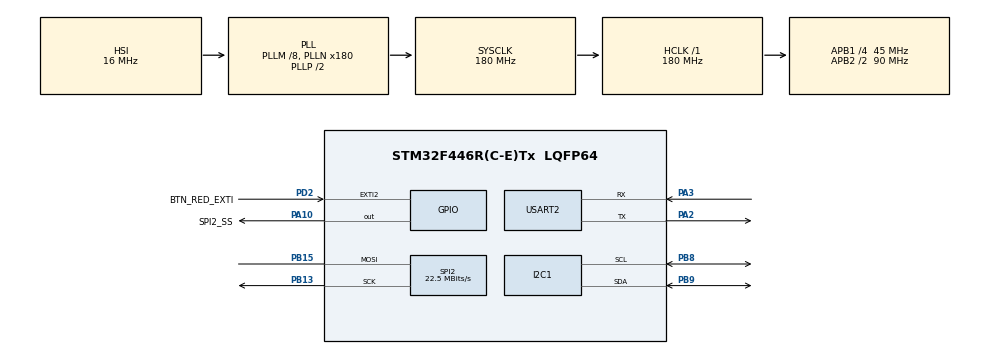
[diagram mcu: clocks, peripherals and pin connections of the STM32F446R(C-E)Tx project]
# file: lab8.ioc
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Dma.I2C1_RX.0.Direction=DMA_PERIPH_TO_MEMORY
Dma.I2C1_RX.0.FIFOMode=DMA_FIFOMODE_DISABLE
Dma.I2C1_RX.0.Instance=DMA1_Stream0
Dma.I2C1_RX.0.MemDataAlignment=DMA_MDATAALIGN_BYTE
Dma.I2C1_RX.0.MemInc=DMA_MINC_ENABLE
Dma.I2C1_RX.0.Mode=DMA_NORMAL
Dma.I2C1_RX.0.PeriphDataAlignment=DMA_PDATAALIGN_BYTE
Dma.I2C1_RX.0.PeriphInc=DMA_PINC_DISABLE
Dma.I2C1_RX.0.Priority=DMA_PRIORITY_LOW
Dma.I2C1_TX.1.Direction=DMA_MEMORY_TO_PERIPH
Dma.I2C1_TX.1.FIFOMode=DMA_FIFOMODE_DISABLE
Dma.I2C1_TX.1.Instance=DMA1_Stream6
Dma.I2C1_TX.1.MemDataAlignment=DMA_MDATAALIGN_BYTE
Dma.I2C1_TX.1.MemInc=DMA_MINC_ENABLE
Dma.I2C1_TX.1.Mode=DMA_NORMAL
Dma.I2C1_TX.1.PeriphDataAlignment=DMA_PDATAALIGN_BYTE
Dma.I2C1_TX.1.PeriphInc=DMA_PINC_DISABLE
Dma.I2C1_TX.1.Priority=DMA_PRIORITY_LOW
Dma.Request0=I2C1_RX
Dma.Request1=I2C1_TX
Mcu.Family=STM32F4
Mcu.Name=STM32F446R(C-E)Tx
Mcu.Package=LQFP64
NVIC.DMA1_Stream0_IRQn=true\:0\:0\:false\:false\:true\:false\:true\:true
NVIC.DMA1_Stream6_IRQn=true\:0\:0\:false\:false\:true\:false\:true\:true
NVIC.EXTI2_IRQn=true\:0\:0\:false\:false\:true\:true\:true\:true
NVIC.I2C1_EV_IRQn=true\:0\:0\:false\:false\:true\:true\:true\:true
NVIC.PriorityGroup=NVIC_PRIORITYGROUP_4
NVIC.SPI2_IRQn=true\:0\:0\:false\:false\:true\:true\:true\:true
NVIC.TIM1_UP_TIM10_IRQn=true\:1\:0\:true\:false\:true\:true\:true\:true
NVIC.TIM8_UP_TIM13_IRQn=true\:0\:0\:false\:false\:true\:true\:true\:true
NVIC.USART2_IRQn=true\:0\:0\:false\:false\:true\:true\:true\:true
PA10.GPIO_Label=SPI2_SS
PA10.Signal=GPIO_Output
PA2.Mode=Asynchronous
PA2.Signal=USART2_TX
PA3.Mode=Asynchronous
PA3.Signal=USART2_RX
PB13.Mode=Simplex_Bidirectional_Master
PB13.Signal=SPI2_SCK
PB15.Mode=Simplex_Bidirectional_Master
PB15.Signal=SPI2_MOSI
PB8.Mode=I2C
PB8.Signal=I2C1_SCL
PB9.Mode=I2C
PB9.Signal=I2C1_SDA
PD2.GPIO_Label=BTN_RED_EXTI
PD2.Signal=GPXTI2
PH0-OSC_IN.Mode=HSE-External-Oscillator
PH0-OSC_IN.Signal=RCC_OSC_IN
PH1-OSC_OUT.Mode=HSE-External-Oscillator
PH1-OSC_OUT.Signal=RCC_OSC_OUT
ProjectManager.HeapSize=0x200
ProjectManager.StackSize=0x400
ProjectManager.TargetToolchain=STM32CubeIDE
RCC.AHBFreq_Value=180000000
RCC.APB1CLKDivider=RCC_HCLK_DIV4
RCC.APB1Freq_Value=45000000
RCC.APB1TimFreq_Value=90000000
RCC.APB2CLKDivider=RCC_HCLK_DIV2
RCC.APB2Freq_Value=90000000
RCC.APB2TimFreq_Value=180000000
RCC.CortexFreq_Value=180000000
RCC.HCLKFreq_Value=180000000
RCC.HSE_VALUE=12000000
RCC.PLLM=8
RCC.PLLN=180
RCC.SYSCLKFreq_VALUE=180000000
RCC.SYSCLKSource=RCC_SYSCLKSOURCE_PLLCLK
RCC.USBFreq_Value=180000000
RCC.VCOOutputFreq_Value=360000000
SPI2.CalculateBaudRate=22.5 MBits/s
SPI2.Direction=SPI_DIRECTION_1LINE
SPI2.Mode=SPI_MODE_MASTER
SPI2.VirtualType=VM_MASTER
TIM1.Period=999
TIM1.Prescaler=179
TIM8.Period=49999
TIM8.Prescaler=1799
USART2.VirtualMode=VM_ASYNC
VP_TIM1_VS_ClockSourceINT.Mode=Internal
VP_TIM8_VS_ClockSourceINT.Mode=Internal
board=custom

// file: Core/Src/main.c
/* USER CODE BEGIN Header */
/**
  ******************************************************************************
  * @file           : main.c
  * @brief          : Main program body
  ******************************************************************************
  * @attention
  *
  * Copyright (c) 2024 STMicroelectronics.
  * All rights reserved.
  *
  * This software is licensed under terms that can be found in the LICENSE file
  * in the root directory of this software component.
  * If no LICENSE file comes with this software, it is provided AS-IS.
  *
  ******************************************************************************
  */
/* USER CODE END Header */
#include "main.h"

/* USER CODE BEGIN PD */
#define UART_RX_BUFFER_SIZE 100
#define MAX_DIGITS 8

#define DS1337_ADDRESS (0x68 << 1)

#define DEBOUNCE_CHECKS 5
/* USER CODE END PD */

I2C_HandleTypeDef hi2c1;
DMA_HandleTypeDef hdma_i2c1_rx;
DMA_HandleTypeDef hdma_i2c1_tx;

SPI_HandleTypeDef hspi2;

TIM_HandleTypeDef htim1;
TIM_HandleTypeDef htim8;

UART_HandleTypeDef huart2;

/* USER CODE BEGIN PV */
uint8_t error_state;

uint8_t digit_to_segment[] = {
    0b00111111, // 0
    0b00000110, // 1
    0b01011011, // 2
    0b01001111, // 3
    0b01100110, // 4
    0b01101101, // 5
    0b01111101, // 6
    0b00000111, // 7
    0b01111111, // 8
    0b01101111  // 9
};

uint8_t current_indicator = 0;
const char *display_string = "12345678";

uint8_t spi_data[2];

uint8_t uart_rx_buffer[UART_RX_BUFFER_SIZE];
uint8_t uart_index = 0;

uint8_t digit_states[MAX_DIGITS] = {0};

uint8_t rtcData[7];
uint8_t rtcDataWrite[7];

uint8_t seconds;
uint8_t minutes;
uint8_t hours;
uint8_t dayOfWeek;
uint8_t date;
uint8_t month;
uint8_t year;

uint8_t clock_state = 0; // 0 - time; 1 - date

uint8_t debounce_buffer[DEBOUNCE_CHECKS] = {0};
uint8_t debounce_index = 0;
/* USER CODE END PV */

void SystemClock_Config(void);
static void MX_GPIO_Init(void);
static void MX_DMA_Init(void);
static void MX_SPI2_Init(void);
static void MX_TIM1_Init(void);
static void MX_USART2_UART_Init(void);
static void MX_I2C1_Init(void);
static void MX_TIM8_Init(void);
/* USER CODE BEGIN PFP */

void ShiftRegister_Send(uint8_t indicator, uint8_t segments);
uint8_t char_to_digit(char c);

uint8_t DEC2BCD(uint8_t val);
uint8_t BCD2DEC(uint8_t val);
void Read_RTC_TimeDate(void);
void Set_RTC_Time(uint8_t hours, uint8_t minutes, uint8_t seconds);
void Set_RTC_Date(uint8_t date, uint8_t month, uint8_t year);
/* USER CODE END PFP */

int main(void)
{

  /* MCU Configuration--------------------------------------------------------*/

  /* Reset of all peripherals, Initializes the Flash interface and the Systick. */
  HAL_Init();

  /* Configure the system clock */
  SystemClock_Config();

  /* Initialize all configured peripherals */
  MX_GPIO_Init();
  MX_DMA_Init();
  MX_SPI2_Init();
  MX_TIM1_Init();
  MX_USART2_UART_Init();
  MX_I2C1_Init();
  MX_TIM8_Init();
  /* USER CODE BEGIN 2 */
  HAL_TIM_Base_Start_IT(&htim1);
  HAL_TIM_Base_Start_IT(&htim8);
  HAL_UART_Receive_IT(&huart2, (uint8_t *)uart_rx_buffer, 1);
  for (int i = 0; i < MAX_DIGITS; i++) {
	  digit_states[i] = digit_to_segment[0];
  }
  if (HAL_I2C_IsDeviceReady(&hi2c1, DS1337_ADDRESS, 1, HAL_MAX_DELAY) != HAL_OK)
  {
      seconds = 99;
  }
  /* USER CODE END 2 */

  /* Infinite loop */
  while (1)
  {

    /* USER CODE BEGIN 3 */

//	Read_RTC_TimeDate();
//	HAL_Delay(1000);
  }
  /* USER CODE END 3 */
}

void SystemClock_Config(void)
{
  RCC_OscInitTypeDef RCC_OscInitStruct = {0};
  RCC_ClkInitTypeDef RCC_ClkInitStruct = {0};

  /** Configure the main internal regulator output voltage
  */
  __HAL_RCC_PWR_CLK_ENABLE();
  __HAL_PWR_VOLTAGESCALING_CONFIG(PWR_REGULATOR_VOLTAGE_SCALE1);

  /** Initializes the RCC Oscillators according to the specified parameters
  * in the RCC_OscInitTypeDef structure.
  */
  RCC_OscInitStruct.OscillatorType = RCC_OSCILLATORTYPE_HSI;
  RCC_OscInitStruct.HSIState = RCC_HSI_ON;
  RCC_OscInitStruct.HSICalibrationValue = RCC_HSICALIBRATION_DEFAULT;
  RCC_OscInitStruct.PLL.PLLState = RCC_PLL_ON;
  RCC_OscInitStruct.PLL.PLLSource = RCC_PLLSOURCE_HSI;
  RCC_OscInitStruct.PLL.PLLM = 8;
  RCC_OscInitStruct.PLL.PLLN = 180;
  RCC_OscInitStruct.PLL.PLLP = RCC_PLLP_DIV2;
  RCC_OscInitStruct.PLL.PLLQ = 2;
  RCC_OscInitStruct.PLL.PLLR = 2;
  if (HAL_RCC_OscConfig(&RCC_OscInitStruct) != HAL_OK)
  {
    Error_Handler();
  }

  /** Activate the Over-Drive mode
  */
  if (HAL_PWREx_EnableOverDrive() != HAL_OK)
  {
    Error_Handler();
  }

  /** Initializes the CPU, AHB and APB buses clocks
  */
  RCC_ClkInitStruct.ClockType = RCC_CLOCKTYPE_HCLK|RCC_CLOCKTYPE_SYSCLK
                              |RCC_CLOCKTYPE_PCLK1|RCC_CLOCKTYPE_PCLK2;
  RCC_ClkInitStruct.SYSCLKSource = RCC_SYSCLKSOURCE_PLLCLK;
  RCC_ClkInitStruct.AHBCLKDivider = RCC_SYSCLK_DIV1;
  RCC_ClkInitStruct.APB1CLKDivider = RCC_HCLK_DIV4;
  RCC_ClkInitStruct.APB2CLKDivider = RCC_HCLK_DIV2;

  if (HAL_RCC_ClockConfig(&RCC_ClkInitStruct, FLASH_LATENCY_5) != HAL_OK)
  {
    Error_Handler();
  }
}

static void MX_I2C1_Init(void)
{

  hi2c1.Instance = I2C1;
  hi2c1.Init.ClockSpeed = 100000;
  hi2c1.Init.DutyCycle = I2C_DUTYCYCLE_2;
  hi2c1.Init.OwnAddress1 = 0;
  hi2c1.Init.AddressingMode = I2C_ADDRESSINGMODE_7BIT;
  hi2c1.Init.DualAddressMode = I2C_DUALADDRESS_DISABLE;
  hi2c1.Init.OwnAddress2 = 0;
  hi2c1.Init.GeneralCallMode = I2C_GENERALCALL_DISABLE;
  hi2c1.Init.NoStretchMode = I2C_NOSTRETCH_DISABLE;
  if (HAL_I2C_Init(&hi2c1) != HAL_OK)
  {
    Error_Handler();
  }

}

static void MX_SPI2_Init(void)
{

  /* SPI2 parameter configuration*/
  hspi2.Instance = SPI2;
  hspi2.Init.Mode = SPI_MODE_MASTER;
  hspi2.Init.Direction = SPI_DIRECTION_1LINE;
  hspi2.Init.DataSize = SPI_DATASIZE_8BIT;
  hspi2.Init.CLKPolarity = SPI_POLARITY_LOW;
  hspi2.Init.CLKPhase = SPI_PHASE_1EDGE;
  hspi2.Init.NSS = SPI_NSS_SOFT;
  hspi2.Init.BaudRatePrescaler = SPI_BAUDRATEPRESCALER_2;
  hspi2.Init.FirstBit = SPI_FIRSTBIT_MSB;
  hspi2.Init.TIMode = SPI_TIMODE_DISABLE;
  hspi2.Init.CRCCalculation = SPI_CRCCALCULATION_DISABLE;
  hspi2.Init.CRCPolynomial = 10;
  if (HAL_SPI_Init(&hspi2) != HAL_OK)
  {
    Error_Handler();
  }

}

static void MX_TIM1_Init(void)
{

  TIM_ClockConfigTypeDef sClockSourceConfig = {0};
  TIM_MasterConfigTypeDef sMasterConfig = {0};

  htim1.Instance = TIM1;
  htim1.Init.Prescaler = 179;
  htim1.Init.CounterMode = TIM_COUNTERMODE_UP;
  htim1.Init.Period = 999;
  htim1.Init.ClockDivision = TIM_CLOCKDIVISION_DIV1;
  htim1.Init.RepetitionCounter = 0;
  htim1.Init.AutoReloadPreload = TIM_AUTORELOAD_PRELOAD_DISABLE;
  if (HAL_TIM_Base_Init(&htim1) != HAL_OK)
  {
    Error_Handler();
  }
  sClockSourceConfig.ClockSource = TIM_CLOCKSOURCE_INTERNAL;
  if (HAL_TIM_ConfigClockSource(&htim1, &sClockSourceConfig) != HAL_OK)
  {
    Error_Handler();
  }
  sMasterConfig.MasterOutputTrigger = TIM_TRGO_RESET;
  sMasterConfig.MasterSlaveMode = TIM_MASTERSLAVEMODE_DISABLE;
  if (HAL_TIMEx_MasterConfigSynchronization(&htim1, &sMasterConfig) != HAL_OK)
  {
    Error_Handler();
  }

}

static void MX_TIM8_Init(void)
{

  TIM_ClockConfigTypeDef sClockSourceConfig = {0};
  TIM_MasterConfigTypeDef sMasterConfig = {0};

  htim8.Instance = TIM8;
  htim8.Init.Prescaler = 1799;
  htim8.Init.CounterMode = TIM_COUNTERMODE_UP;
  htim8.Init.Period = 49999;
  htim8.Init.ClockDivision = TIM_CLOCKDIVISION_DIV1;
  htim8.Init.RepetitionCounter = 0;
  htim8.Init.AutoReloadPreload = TIM_AUTORELOAD_PRELOAD_DISABLE;
  if (HAL_TIM_Base_Init(&htim8) != HAL_OK)
  {
    Error_Handler();
  }
  sClockSourceConfig.ClockSource = TIM_CLOCKSOURCE_INTERNAL;
  if (HAL_TIM_ConfigClockSource(&htim8, &sClockSourceConfig) != HAL_OK)
  {
    Error_Handler();
  }
  sMasterConfig.MasterOutputTrigger = TIM_TRGO_RESET;
  sMasterConfig.MasterSlaveMode = TIM_MASTERSLAVEMODE_DISABLE;
  if (HAL_TIMEx_MasterConfigSynchronization(&htim8, &sMasterConfig) != HAL_OK)
  {
    Error_Handler();
  }

}

static void MX_USART2_UART_Init(void)
{

  huart2.Instance = USART2;
  huart2.Init.BaudRate = 115200;
  huart2.Init.WordLength = UART_WORDLENGTH_8B;
  huart2.Init.StopBits = UART_STOPBITS_1;
  huart2.Init.Parity = UART_PARITY_NONE;
  huart2.Init.Mode = UART_MODE_TX_RX;
  huart2.Init.HwFlowCtl = UART_HWCONTROL_NONE;
  huart2.Init.OverSampling = UART_OVERSAMPLING_16;
  if (HAL_UART_Init(&huart2) != HAL_OK)
  {
    Error_Handler();
  }

}

static void MX_DMA_Init(void)
{

  /* DMA controller clock enable */
  __HAL_RCC_DMA1_CLK_ENABLE();

  /* DMA interrupt init */
  /* DMA1_Stream0_IRQn interrupt configuration */
  HAL_NVIC_SetPriority(DMA1_Stream0_IRQn, 0, 0);
  HAL_NVIC_EnableIRQ(DMA1_Stream0_IRQn);
  /* DMA1_Stream6_IRQn interrupt configuration */
  HAL_NVIC_SetPriority(DMA1_Stream6_IRQn, 0, 0);
  HAL_NVIC_EnableIRQ(DMA1_Stream6_IRQn);

}

static void MX_GPIO_Init(void)
{
  GPIO_InitTypeDef GPIO_InitStruct = {0};

  /* GPIO Ports Clock Enable */
  __HAL_RCC_GPIOH_CLK_ENABLE();
  __HAL_RCC_GPIOA_CLK_ENABLE();
  __HAL_RCC_GPIOB_CLK_ENABLE();
  __HAL_RCC_GPIOD_CLK_ENABLE();

  /*Configure GPIO pin Output Level */
  HAL_GPIO_WritePin(SPI2_SS_GPIO_Port, SPI2_SS_Pin, GPIO_PIN_RESET);

  /*Configure GPIO pin : SPI2_SS_Pin */
  GPIO_InitStruct.Pin = SPI2_SS_Pin;
  GPIO_InitStruct.Mode = GPIO_MODE_OUTPUT_PP;
  GPIO_InitStruct.Pull = GPIO_NOPULL;
  GPIO_InitStruct.Speed = GPIO_SPEED_FREQ_LOW;
  HAL_GPIO_Init(SPI2_SS_GPIO_Port, &GPIO_InitStruct);

  /*Configure GPIO pin : BTN_RED_EXTI_Pin */
  GPIO_InitStruct.Pin = BTN_RED_EXTI_Pin;
  GPIO_InitStruct.Mode = GPIO_MODE_IT_RISING;
  GPIO_InitStruct.Pull = GPIO_NOPULL;
  HAL_GPIO_Init(BTN_RED_EXTI_GPIO_Port, &GPIO_InitStruct);

  /* EXTI interrupt init*/
  HAL_NVIC_SetPriority(EXTI2_IRQn, 0, 0);
  HAL_NVIC_EnableIRQ(EXTI2_IRQn);

}

/* USER CODE BEGIN 4 */
uint8_t char_to_digit(char c) {
    if (c >= '0' && c <= '9') {
        return c - '0';
    }
    return 0;
}

void process_uart_string(char *str) {
    char *input = strchr(str, 't');
    if (input != NULL){
        char hours_str[3] = {input[1], input[2], '\0'};
        char minutes_str[3] = {input[4], input[5], '\0'};
        char seconds_str[3] = {input[7], input[8], '\0'};

        uint8_t temp_hours = (uint8_t)atoi(hours_str);
        uint8_t temp_minutes = (uint8_t)atoi(minutes_str);
        uint8_t temp_seconds = (uint8_t)atoi(seconds_str);

        if (temp_hours <= 23 && temp_minutes <= 59 && temp_seconds <= 59) {
//        	hours = temp_hours;
//			minutes = temp_minutes;
//			seconds = temp_seconds;
			Set_RTC_Time(temp_hours, temp_minutes, temp_seconds);
		}
		return;
    }
    input = strchr(str, 'd');
    if (input != NULL){
		char date_str[3] = {input[1], input[2], '\0'};
		char month_str[3] = {input[4], input[5], '\0'};
		char year_str[3] = {input[7], input[8], '\0'};

		uint8_t temp_date = (uint8_t)atoi(date_str);
		uint8_t temp_month = (uint8_t)atoi(month_str);
		uint8_t temp_year = (uint8_t)atoi(year_str);

		if (temp_date <= 28 && temp_month <= 12 && temp_year <= 99) {
//			date = temp_date;
//			month = temp_month;
//			year = temp_year;
			Set_RTC_Date(temp_date, temp_month, temp_year);
		}
		return;
        }
    return;
}

void Read_RTC_TimeDate(void){
    if (HAL_I2C_Mem_Read_DMA(&hi2c1, DS1337_ADDRESS, 0x00, I2C_MEMADD_SIZE_8BIT, rtcData, 7) != HAL_OK)
    {
        Error_Handler();
    }
}

void Set_RTC_Time(uint8_t hours, uint8_t minutes, uint8_t seconds){
    uint8_t timeData[3];

    timeData[0] = DEC2BCD(seconds);
    timeData[1] = DEC2BCD(minutes);
    timeData[2] = DEC2BCD(hours);
    if (HAL_I2C_GetState(&hi2c1) == HAL_I2C_STATE_READY)
	{
    	HAL_I2C_Mem_Write_DMA(&hi2c1, DS1337_ADDRESS, 0x00, I2C_MEMADD_SIZE_8BIT, timeData, 3);
	}
    else{
		Error_Handler();
	}

//    if (HAL_I2C_Mem_Write_DMA(&hi2c1, DS1337_ADDRESS, 0x00, I2C_MEMADD_SIZE_8BIT, timeData, 3) != HAL_OK)
//    {
//        Error_Handler();
//    }
}

void Set_RTC_Date(uint8_t date, uint8_t month, uint8_t year){
    uint8_t dateData[3];

    dateData[0] = DEC2BCD(date);
    dateData[1] = DEC2BCD(month);
    dateData[2] = DEC2BCD(year);

    if (HAL_I2C_Mem_Write_DMA(&hi2c1, DS1337_ADDRESS, 0x04, I2C_MEMADD_SIZE_8BIT, dateData, 3) != HAL_OK)
    {
        Error_Handler();
    }
}

uint8_t DEC2BCD(uint8_t val){
    return ((val / 10) << 4) | (val % 10);
}

uint8_t BCD2DEC(uint8_t val){
    return ((val >> 4) * 10) + (val & 0x0F);
}

void update_digit_states() {
	if (!clock_state){
		digit_states[0] = digit_to_segment[hours / 10];
		digit_states[1] = digit_to_segment[hours % 10];
		digit_states[1] |= 0b10000000;
		digit_states[2] = digit_to_segment[minutes / 10];
		digit_states[3] = digit_to_segment[minutes % 10];
		digit_states[3] |= 0b10000000;
		digit_states[4] = digit_to_segment[seconds / 10];
		digit_states[5] = digit_to_segment[seconds % 10];
		digit_states[6] = 0;
		digit_states[7] = 0;
	}
	else{
		digit_states[0] = digit_to_segment[date / 10];
		digit_states[1] = digit_to_segment[date % 10];
		digit_states[1] |= 0b10000000;
		digit_states[2] = digit_to_segment[month / 10];
		digit_states[3] = digit_to_segment[month % 10];
		digit_states[3] |= 0b10000000;
		digit_states[4] = digit_to_segment[2];
		digit_states[5] = digit_to_segment[0];
		digit_states[6] = digit_to_segment[year / 10];;
		digit_states[7] = digit_to_segment[year % 10];;
	}
}

void HAL_I2C_MemRxCpltCallback(I2C_HandleTypeDef *hi2c){
    if (hi2c->Instance == I2C1)
    {
		seconds = BCD2DEC(rtcData[0]);
		minutes = BCD2DEC(rtcData[1]);
		hours = BCD2DEC(rtcData[2]);
		dayOfWeek = BCD2DEC(rtcData[3]);
		date = BCD2DEC(rtcData[4]);
		month = BCD2DEC(rtcData[5]);
		year = BCD2DEC(rtcData[6]);
    }
}

void HAL_SPI_TxCpltCallback(SPI_HandleTypeDef *hspi) {
    if (hspi->Instance == SPI2) {
        HAL_GPIO_WritePin(GPIOA, GPIO_PIN_10, GPIO_PIN_RESET);
        HAL_GPIO_WritePin(GPIOA, GPIO_PIN_10, GPIO_PIN_SET);
    }
}

void HAL_UART_RxCpltCallback(UART_HandleTypeDef *huart) {
    if (huart->Instance == USART2) {
        if (uart_rx_buffer[uart_index] == '\r') {
            uart_rx_buffer[uart_index + 1] = '\0';
            process_uart_string((char *)uart_rx_buffer);
            uart_index = 0;
        } else {
            uart_index++;
            if (uart_index >= sizeof(uart_rx_buffer) - 1) {
				uart_index = 0;
			}
        }
        HAL_UART_Receive_IT(&huart2, &uart_rx_buffer[uart_index], 1);
    }
}

void HAL_TIM_PeriodElapsedCallback(TIM_HandleTypeDef *htim) {
    if (htim->Instance == TIM1) {

    	update_digit_states();

        uint8_t indicator = ~(1 << current_indicator);
        uint8_t segments = digit_states[current_indicator];

        spi_data[0] = segments;
        spi_data[1] = indicator;

        HAL_SPI_Transmit_IT(&hspi2, spi_data, 2);

        current_indicator = (current_indicator + 1) % MAX_DIGITS;
    }
    if (htim->Instance == TIM8) {

		Read_RTC_TimeDate();
	}
}

void HAL_GPIO_EXTI_Callback(uint16_t GPIO_Pin){
    if (GPIO_Pin == BTN_RED_EXTI_Pin){
    	clock_state = !clock_state;
	}
}

/* USER CODE END 4 */

void Error_Handler(void)
{
  /* USER CODE BEGIN Error_Handler_Debug */
  /* User can add his own implementation to report the HAL error return state */
  __disable_irq();
  error_state = 1;
  while (1)
  {
  }
  /* USER CODE END Error_Handler_Debug */
}
